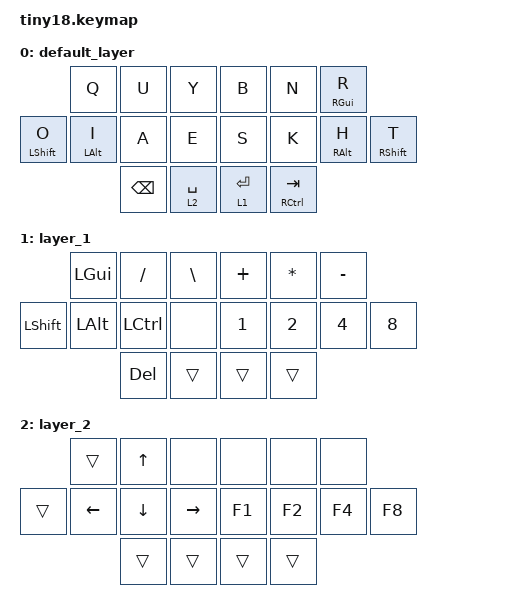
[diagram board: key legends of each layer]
#include <input/processors.dtsi>
#include <dt-bindings/zmk/input_transform.h>
#include <zephyr/dt-bindings/input/input-event-codes.h>
#include <behaviors.dtsi>
#include <dt-bindings/zmk/bt.h>
#include <dt-bindings/zmk/keys.h>

/ {
    combos {
        compatible = "zmk,combos";
        timeout-ms = <100>;
        require-prior-idle-ms = <150>;

        combo_lang2 {
            key-positions = <7 8 9>;
            bindings = <&kp LANG2>;
            layers = <0>;
        };

        combo_lang1 {
            key-positions = <10 11 12>;
            bindings = <&kp LANG1>;
            layers = <0>;
        };
        
        combo_comma {
            key-positions = <10 16>;
            bindings = <&kp COMMA>;
        };

        combo_period {
            key-positions = <11 16>;
            bindings = <&kp PERIOD>;
        };
   　   esc {
            key-positions = <0 6>;
            bindings = <&kp ESC>;
        };

        q {
            bindings = <&kp Q>;
            key-positions = <0 2>;
            layers = <0>;
        };

        x {
            bindings = <&kp X>;
            key-positions = <1 2>;
            layers = <0>;
        };

        l {
            bindings = <&kp L>;
            key-positions = <3 5>;
            layers = <0>;
        };

        p {
            bindings = <&kp P>;
            key-positions = <3 4>;
            layers = <0>;
        };

        m {
            bindings = <&kp M>;
            key-positions = <4 5>;
            layers = <0>;
        };

        j {
            bindings = <&kp J>;
            key-positions = <5 13>;
            layers = <0>;
        };

        c {
            bindings = <&kp C>;
            key-positions = <7 8>;
            layers = <0>;
        };

        v {
            bindings = <&kp V>;
            key-positions = <8 9>;
            layers = <0>;
        };

        w {
            bindings = <&kp W>;
            key-positions = <10 12>;
            layers = <0>;
        };

        z {
            bindings = <&kp Z>;
            key-positions = <10 11>;
            layers = <0>;
        };

        g {
            bindings = <&kp G>;
            key-positions = <11 12>;
            layers = <0>;
        };

        d {
            bindings = <&kp D>;
            key-positions = <12 13>;
            layers = <0>;
        };

        minus {
            bindings = <&kp MINUS>;
            key-positions = <12  16>;
            layers = <0>;
        };

        lbkt {
            bindings = <&kp LBKT>;
            key-positions = <2 15>;
            layers = <0>;
        };

        rbkt {
            bindings = <&kp RBKT>;
            key-positions = <3 16>;
            layers = <0>;
        };

    
        n3 {
            bindings = <&kp N3>;
            key-positions = <10 11>;
            layers = <1>;
        };

        n5 {
            bindings = <&kp N5>;
            key-positions = <10 12>;
            layers = <1>;
        };

        n6 {
            bindings = <&kp N6>;
            key-positions = <11 12>;
            layers = <1>;
        };

        n7 {
            bindings = <&kp N7>;
            key-positions = <10 11 12>;
            layers = <1>;
        };

        n9 {
            bindings = <&kp N9>;
            key-positions = <10 13>;
            layers = <1>;
        };

        n0 {
            bindings = <&kp N0>;
            key-positions = <11 13>;
            layers = <1>;
        };

        f3 {
            bindings = <&kp F3>;
            key-positions = <10 11>;
            layers = <2>;
        };

        f5 {
            bindings = <&kp F5>;
            key-positions = <10 12>;
            layers = <2>;
        };

        f6 {
            bindings = <&kp F6>;
            key-positions = <11 12>;
            layers = <2>;
        };

        f7 {
            bindings = <&kp F7>;
            key-positions = <10 11 12>;
            layers = <2>;
        };

        f9 {
            bindings = <&kp F9>;
            key-positions = <10 13>;
            layers = <2>;
        };

        f10 {
            bindings = <&kp F10>;
            key-positions = <11 13>;
            layers = <2>;
        };

        f11 {
            bindings = <&kp F11>;
            key-positions = <10 11 13>;
            layers = <2>;
        };

        f12 {
            bindings = <&kp F12>;
            key-positions = <12 13>;
            layers = <2>;
        };


    };

    keymap {
        compatible = "zmk,keymap";

        default_layer {
            bindings = <
                &kp Q       &kp U           &kp Y         &kp B        &kp N       &mt RGUI R
&mt LSHIFT O    &mt LALT I  &kp A           &kp E         &kp S        &kp K       &mt RALT H      &mt RSHIFT T
                            &kp BACKSPACE   &lt 2 SPACE     &lt 1 ENTER  &mt RCTRL TAB
            >;
        };

        layer_1 {
            bindings = <
            &kp LGUI    &kp FSLH    &kp BSLH        &kp PLUS        &kp STAR　　   &kp MINUS
&kp LSHIFT  &kp LALT    &kp LCTRL   &none           &kp N1          &kp N2         &kp N4      &kp N8
                        &kp DEL      &trans     &trans         &trans    
            >;
        };

        layer_2 {
            bindings = <
        &trans  &kp UP   &none       &none   &none   &none
&trans  &kp LEFT  &kp DOWN  &kp RIGHT      &kp F1  &kp F2  &kp F4  &kp F8
                &trans  &trans      &trans  &trans
            >;
        };
    };
};
